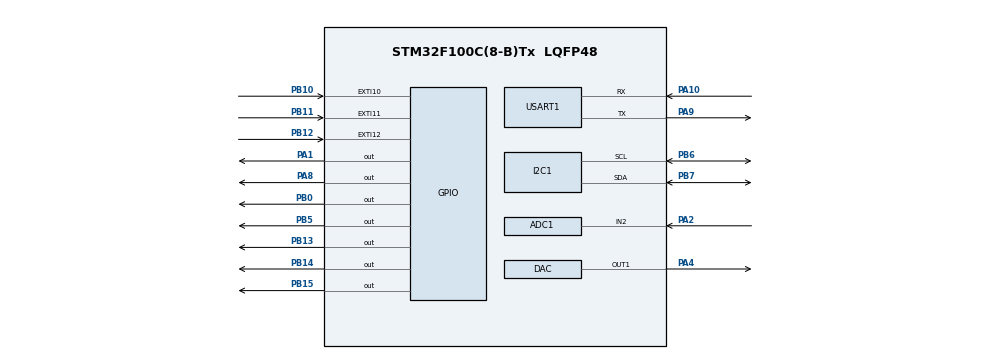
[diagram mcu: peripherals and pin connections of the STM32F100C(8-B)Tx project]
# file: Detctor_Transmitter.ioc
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ADC1.Channel-0\#ChannelRegularConversion=ADC_CHANNEL_2
ADC1.NbrOfConversionFlag=1
ADC1.Rank-0\#ChannelRegularConversion=1
ADC1.SamplingTime-0\#ChannelRegularConversion=ADC_SAMPLETIME_1CYCLE_5
ADC1.master=1
Mcu.Family=STM32F1
Mcu.Name=STM32F100C(8-B)Tx
Mcu.Package=LQFP48
NVIC.EXTI15_10_IRQn=true\:0\:0\:false\:false\:true\:true\:true\:true
NVIC.PriorityGroup=NVIC_PRIORITYGROUP_4
NVIC.TIM3_IRQn=true\:0\:0\:false\:false\:true\:true\:true\:true
PA1.Signal=GPIO_Output
PA10.Mode=Asynchronous
PA10.Signal=USART1_RX
PA13.Mode=Serial_Wire
PA13.Signal=SYS_JTMS-SWDIO
PA14.Mode=Serial_Wire
PA14.Signal=SYS_JTCK-SWCLK
PA2.Signal=ADCx_IN2
PA4.Signal=COMP_DAC1_group
PA8.Signal=GPIO_Output
PA9.Mode=Asynchronous
PA9.Signal=USART1_TX
PB0.Signal=GPIO_Output
PB10.Signal=GPXTI10
PB11.Signal=GPXTI11
PB12.Signal=GPXTI12
PB13.Signal=GPIO_Output
PB14.Signal=GPIO_Output
PB15.Signal=GPIO_Output
PB5.Signal=GPIO_Output
PB6.Mode=I2C
PB6.Signal=I2C1_SCL
PB7.Mode=I2C
PB7.Signal=I2C1_SDA
ProjectManager.HeapSize=0x200
ProjectManager.StackSize=0x400
ProjectManager.TargetToolchain=STM32CubeIDE
RCC.APB1Freq_Value=8000000
RCC.APB2Freq_Value=8000000
SH.ADCx_IN2.0=ADC1_IN2,IN2
SH.COMP_DAC1_group.0=DAC_OUT1,DAC_OUT1
TIM3.Period=250
TIM3.Prescaler=4800-1
USART1.VirtualMode=VM_ASYNC
VP_TIM3_VS_ClockSourceINT.Mode=Internal
board=custom

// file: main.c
/* USER CODE BEGIN Header */
/**
  ******************************************************************************
  * @file           : main.c
  * @brief          : Main program body
  ******************************************************************************
  * @attention
  *
  * Copyright (c) 2023 STMicroelectronics.
  * All rights reserved.
  *
  * This software is licensed under terms that can be found in the LICENSE file
  * in the root directory of this software component.
  * If no LICENSE file comes with this software, it is provided AS-IS.
  *
  ******************************************************************************
  */
/* USER CODE END Header */
#include "main.h"
#include "string.h"
#include "stdio.h"

ADC_HandleTypeDef hadc1;

DAC_HandleTypeDef hdac;

I2C_HandleTypeDef hi2c1;

TIM_HandleTypeDef htim3;

UART_HandleTypeDef huart1;

void SystemClock_Config(void);
static void MX_GPIO_Init(void);
static void MX_USART1_UART_Init(void);
static void MX_DAC_Init(void);
static void MX_ADC1_Init(void);
static void MX_I2C1_Init(void);
static void MX_TIM3_Init(void);
/* USER CODE BEGIN PFP */
/* USER CODE BEGIN PFP */
uint32_t previousMillis=0,previousMillis1 = 0,previousMillis2 = 0;
uint32_t currentMillis = 0,currentMillis1 = 0,currentMillis2 = 0;
char Sensor_Fail=0;

int i = 0,setcount =0, j = 0, Adresscounter=254,First_Adresscounter=0,Second_Adresscounter=0,Thrid_Adresscounter=0,current_digit,Segment_Position=3;
int First_AdcVal=0,Second_AdcVal=0,Thrid_AdcVal=0,Fourth_AdcVal=0;
int First_I2cVal=0,Second_I2cVal=0,Thrid_I2cVal=0,Fourth_I2cVal=0;
int Running_Application=0,Lockbit=0;
int h_Thrid_Alarmcounter=0,h_Second_Alarmcounter=0,h_First_Alarmcounter=0,High_Alarmcounter = 70,Set_LowAlarm=0;//Alarm Variables
int lw_Thrid_Alarmcounter=0,lw_Second_Alarmcounter=0,lw_First_Alarmcounter=0,Low_Alarmcounter=25;
int Version_Buff[23]={14,13,9,9,1,2,3,4,15,1,0,2,16,13,5,5,11,2,5,5};
int timer_control=0,With_TimerControl=0,Secondary_EntryApp=0;
uint8_t RxData[256];
uint8_t TxData[256];

typedef enum{
	PowerOnStage=0,
	MenuSelectionStage,
	SubMenuSelectionStage,
	Address_Setting,
	Zero_PointCalbiration,
	Gas_Calibration,
	mA_Calibration,
	h_Alarm_Setting,
	lw_Alarm_Setting,
	Life_limitSetting,
	Self_calibration,
	Exit_menu,
	Run_App,
}_stage;
_stage stage;
int Second_stage =1;
void Power_on_dispaly(){
   if(i<=8){
    Gas_IndexMenu();
   }
   else if((i>=8) && (i<=16)){
	Default_Address();

   }
   else if((i>=16) && (i<=24)){
    Version_Info();
   }
   else if((i>=24) && (i<=32)){
	Range_IndexMenu();}
   else if((i>=32) && (i<=40)){
	HighLow_AlarmMenu();}
	}
/* USER CODE END 0 */
int mapValue(int value) {
	const int minInput = 19680;   // 0 ppm at 1.23V VOUT
	const int maxInput = 27360;   // 100 ppm at 1.71V VOUT
    //const int minInput = 26214;//17650;//8186;
    //const int maxInput = 36160;//32767;//65535;
    const int minOutput = 0;
    const int maxOutput = 100;

    // Ensure the value is within the specified range
    if (value < minInput) {
        value = minInput;
    } else if (value > maxInput) {
        value = maxInput;
    }

    // Map the value to the output range
    int mappedValue = ((value - minInput) * (maxOutput - minOutput)) / (maxInput - minInput) + minOutput;

    return mappedValue;
}
int DAC_mapValue(int value) {
    const int minInput = 0;
    const int maxInput = 100;
    const int minOutput = 819;
    const int maxOutput = 3970;//3220;

    // Ensure the value is within the specified range
    if (value < minInput) {
        value = minInput;
    } else if (value > maxInput) {
        value = maxInput;
    }

    // Map the value to the output range
    int mappedValue = ((value - minInput) * (maxOutput - minOutput)) / (maxInput - minInput) + minOutput;
    return mappedValue;
}
/* USER CODE END PFP */
/* USER CODE END PFP */
void HAL_TIM_PeriodElapsedCallback(TIM_HandleTypeDef *htim)
{

  if(htim->Instance == TIM3)
  {
	  i++;
if(i>=41)
	i=0;

if(With_TimerControl==0)
       timer_control++;
if(timer_control>750){
   Secondary_EntryApp=1;
    timer_control=0;
}

  }
}
void HAL_GPIO_EXTI_Callback(uint16_t GPIO_Pin)
{

  currentMillis = HAL_GetTick();
  currentMillis1 = HAL_GetTick();
  currentMillis2 = HAL_GetTick();

  	  if (GPIO_Pin == GPIO_PIN_11 && (currentMillis - previousMillis > 10))
  	  {
  		if(Lockbit==0)
  		Second_stage++;

  		if(stage ==Address_Setting){
  			Adresscounter++;
  		}

  		 if(stage ==h_Alarm_Setting){
  			High_Alarmcounter++;
  		  		}
  		 if(stage ==lw_Alarm_Setting){
  	  		  			Low_Alarmcounter++;
  	  		  		  		  		}
  		if(Adresscounter>=255)
  		  			Adresscounter =255;

  		if(High_Alarmcounter>=100)
  			High_Alarmcounter =100;

  		if(Low_Alarmcounter>=100)
  			Low_Alarmcounter =100;

  		previousMillis = currentMillis;
  	  }
  	  else if (GPIO_Pin == GPIO_PIN_12 && (currentMillis1 - previousMillis1 > 10))
  		{

  		if(Lockbit==0){
  		  /*if((Second_stage >=1)){
  						  Second_stage -=1;
  						  }
  						  else {
  							  Second_stage=0;
  						  }*/
  			Second_stage -=1;
  			  		  			if((Second_stage <=0)){
  			  		  				Second_stage=1;
  			  		  			}

  		}

  		if(stage ==Address_Setting){

  			Adresscounter--;
  		  		}

  		 if(stage ==h_Alarm_Setting){
  			High_Alarmcounter--;
  		  		  		}
  		 if(stage ==lw_Alarm_Setting){
  		  			Low_Alarmcounter--;
  		  		  		  		}
  		if(Adresscounter <=0)
  			Adresscounter=0;

  		if(High_Alarmcounter <=0)
  			High_Alarmcounter=0;

  		if(Low_Alarmcounter <=0)
  		  	Low_Alarmcounter=0;

  		previousMillis1 = currentMillis1;

  		}
  	 else if (GPIO_Pin == GPIO_PIN_10 && (currentMillis2 - previousMillis2 > 10))
  	  		{
  		if((Running_Application ==1)||(Secondary_EntryApp==1)){
  		   			Running_Application=0;
  		   			Secondary_EntryApp=0;
  		   			With_TimerControl=0;
  		   		}
  		switch (setcount){
  		case 0:
  			stage =MenuSelectionStage;
  			Lockbit=0;
  		break;
  		case 1:

 	  		  if(Second_stage==1){
 	  			stage =Address_Setting;

 	  		  }
 	  		  else if(Second_stage==2){
 	  		 	  			stage =Zero_PointCalbiration;

 	  		 	  		  }
			else if(Second_stage==5){
			stage =h_Alarm_Setting;

			}
			else if(Second_stage==6){
			stage =lw_Alarm_Setting;

			}

			else if(Second_stage==9){
			stage =Exit_menu;
			Running_Application=1;

			}
  		    Lockbit=1;
  			break;

  		}
  		setcount++;

  		if(setcount>=2){
  			setcount =0;

  		}

  		   previousMillis2 = currentMillis2;
  	 }
}
/* USER CODE BEGIN 0 */
//uint16_t ReadMCP3425(uint8_t channel, uint8_t gain)
uint16_t ReadMCP3425(uint8_t channel, uint8_t gain_setting)  //10/9/25
{
 // uint8_t command = 0x90 | (channel << 5) | (gain << 1);
	 //uint8_t command = 0x98 ;
	uint8_t command = 0x98 | (gain_setting & 0x03);  // Add gain bits (0-3)//10/9/25
     uint8_t data[3] = {0};

  // Send configuration command to MCP3425
  if (HAL_I2C_Master_Transmit(&hi2c1, 0xD0, &command, 1, HAL_MAX_DELAY) != HAL_OK)
  {

    Sensor_Fail=1;
    return 0;
  }
    //HAL_Delay(2); // Delay for 1 second
  // Read ADC data from MCP3425
  if (HAL_I2C_Master_Receive(&hi2c1, 0xD1, data, 3, HAL_MAX_DELAY) != HAL_OK)
  {
    Sensor_Fail=1;
    return 0;
  }

  // Combine received bytes into a 16-bit value
  uint16_t result = (data[0] << 8) | data[1];

  // The last b yte contains configuration and status information; you can extract it if needed

  return result;
}
void Reading_Flash(){
	Adresscounter = Flash_Read_NUM(0x08006010);
	High_Alarmcounter= Flash_Read_NUM(0x08005C10);
	Low_Alarmcounter=Flash_Read_NUM(0x08012000);

}

void Write_Flash(){
	Flash_Write_NUM(0x08006010, Adresscounter);
	Flash_Write_NUM(0x08005C10, High_Alarmcounter);
	Flash_Write_NUM(0x08012000, Low_Alarmcounter);

}
/* USER CODE END 0 */

int main(void)
{
  /* USER CODE BEGIN 1 */
	uint16_t I2c_adcValue=0;
	int Ppm_Val =0;
	uint32_t dac_value=0;
    uint8_t Mode_data_to_send[] = {0x12,0x03}; // Data to be sent
    uint8_t TIACN_data_to_send[] = {0x10,0x1B};//{0x10,0x19}; // Data to be sent
    uint8_t REFCN_data_to_send[] = {0x11,0xA0}; // Data to be sent
    uint8_t LOCK_data_to_send[] = {0x01,0x00}; // Data to be sent
    uint16_t device_address = 0x90; // 7-bit address, left-shifted by 1 for write
    uint8_t Mode_data_received[3]={0}; // Buffer to store received data
    uint8_t TIACN_data_received[3]={0}; // Buffer to store received data
    uint8_t REFCN_data_received[3]={0}; // Buffer to store received data
    uint16_t mode_data_size = sizeof(Mode_data_received);
    uint16_t TIACN_data_size = sizeof(TIACN_data_received);
    uint16_t REFCN_data_size = sizeof(REFCN_data_received);
    static char Memory_lock=0;
  /* USER CODE END 1 */

  /* MCU Configuration--------------------------------------------------------*/

  /* Reset of all peripherals, Initializes the Flash interface and the Systick. */
  HAL_Init();

  /* Configure the system clock */
  SystemClock_Config();

  /* USER CODE BEGIN SysInit */
  Seven_SegmentInit();
  /* USER CODE END SysInit */

  /* Initialize all configured peripherals */
  MX_GPIO_Init();
  MX_USART1_UART_Init();
  MX_DAC_Init();
  MX_ADC1_Init();
  MX_I2C1_Init();
  MX_TIM3_Init();
  /* USER CODE BEGIN 2 */

  HAL_TIM_Base_Start_IT(&htim3);
  /* USER CODE END 2 */
  // Start DAC output
  HAL_DAC_Start(&hdac, DAC_CHANNEL_1);
  /* USER CODE END SysInit */
     HAL_GPIO_WritePin(GPIOA, GPIO_PIN_8, GPIO_PIN_SET);//Controlling the Txand Rx for Communication

     uint8_t txData[] = "Hello, Decteor/transmiter Starting the application !\r\n";
     HAL_UART_Transmit(&huart1, txData, sizeof(txData) - 1, HAL_MAX_DELAY);

     //i2c
     if (HAL_I2C_Master_Transmit(&hi2c1, device_address, Mode_data_to_send, sizeof(Mode_data_to_send), HAL_MAX_DELAY) != HAL_OK)
     {
    	 Sensor_Fail=1;
       Error_Handler();

     }

     if (HAL_I2C_Master_Receive(&hi2c1, device_address, Mode_data_received, mode_data_size, HAL_MAX_DELAY) != HAL_OK)
      {
    	 Sensor_Fail=1;
        Error_Handler();

      }

     /////

     // Transmit data
          if (HAL_I2C_Master_Transmit(&hi2c1, device_address,LOCK_data_to_send , sizeof(LOCK_data_to_send), HAL_MAX_DELAY) != HAL_OK)
          {
        	  Sensor_Fail=1;
            Error_Handler();

          }

          ///////
     // Transmit data
     if (HAL_I2C_Master_Transmit(&hi2c1, device_address, TIACN_data_to_send, sizeof(TIACN_data_to_send), HAL_MAX_DELAY) != HAL_OK)
     {
    	 Sensor_Fail=1;
       Error_Handler();

     }

     if (HAL_I2C_Master_Receive(&hi2c1, device_address, TIACN_data_received, TIACN_data_size, HAL_MAX_DELAY) != HAL_OK)
      {
    	 Sensor_Fail=1;
        Error_Handler();

      }
     ///

     if (HAL_I2C_Master_Transmit(&hi2c1, device_address,REFCN_data_to_send , sizeof(REFCN_data_to_send), HAL_MAX_DELAY) != HAL_OK)
     {
    	 Sensor_Fail=1;
       Error_Handler();

     }

     if (HAL_I2C_Master_Receive(&hi2c1, device_address, REFCN_data_received, REFCN_data_size, HAL_MAX_DELAY) != HAL_OK)
      {
    	 Sensor_Fail=1;
        Error_Handler();

      }
    __HAL_I2C_DISABLE(&hi2c1);

    Reading_Flash();
  /* Infinite loop */
  /* USER CODE BEGIN WHILE */
  //  HAL_DAC_SetValue(&hdac, DAC_CHANNEL_1, DAC_ALIGN_12B_R, 3220);
  while (1)
  {
#if 1
    /* USER CODE END WHILE */
	  HAL_GPIO_WritePin(GPIOA, GPIO_PIN_1, GPIO_PIN_RESET);

	  if(Second_stage>=10)

	   		   		  Second_stage=1;
	  /*serial display code added on 11/9/25//
	  static uint32_t uart_test = 0;
	      if(HAL_GetTick() - uart_test > 2000) { // Every 2 seconds
	          char test[] = "MAIN_LOOP_WORKING\r\n";

	          // RS485 direction control (like startup message)
	          HAL_GPIO_WritePin(GPIOA, GPIO_PIN_8, GPIO_PIN_SET); // TX mode
	          HAL_Delay(2);
	          HAL_UART_Transmit(&huart1, (uint8_t*)test, strlen(test), 100);
	          HAL_Delay(2);

	          uart_test = HAL_GetTick();
	      }
	      // 📊 SENSOR SERIAL OUTPUT - Add this new section
	          static uint32_t sensor_timer = 0;
	          if(HAL_GetTick() - sensor_timer > 3000) {  // Every 3 seconds
	              // Read sensor regardless of mode
	              uint16_t I2c_adcValue = ReadMCP3425(0, 0);
	              int Ppm_Val = mapValue(I2c_adcValue);
	              uint32_t dac_value = DAC_mapValue(Ppm_Val);

	              char sensor_msg[60];
	              sprintf(sensor_msg, "ADC:%d PPM:%d DAC:%lu Stage:%d\r\n",
	                      I2c_adcValue, Ppm_Val, dac_value, (int)stage);

	              HAL_GPIO_WritePin(GPIOA, GPIO_PIN_8, GPIO_PIN_SET);
	              HAL_Delay(2);
	              HAL_UART_Transmit(&huart1, (uint8_t*)sensor_msg, strlen(sensor_msg), 100);
	              HAL_Delay(2);

	              sensor_timer = HAL_GetTick();
	          }*/

	  if((Running_Application ==1 )||(Secondary_EntryApp==1))
	  	  			 {
	  		  stage=Run_App;
			   // Read analog value from MCP3425 channel 0 with 16x gain
			 	    //I2c_adcValue = ReadMCP3425(0, 2); // Change the channel and gain as needed
			 	   I2c_adcValue = ReadMCP3425(0, 0); // Change the channel and gain as needed 10/9/25
			 	   if(Memory_lock==0){
			 	   			   Write_Flash();
			 	   			   Memory_lock=1;
			 	   		   }

					Ppm_Val=mapValue(I2c_adcValue);
					//Ppm_Val =25;
					Thrid_I2cVal =( (Ppm_Val / 100) % 10 );   // prepare to display digit 2
					Second_I2cVal =( (Ppm_Val / 10) % 10 );   // prepare to display digit 3
					First_I2cVal =(Ppm_Val % 10);   // prepare to display digit 4 (most right)

					dac_value=DAC_mapValue(Ppm_Val);
					char buffer[200];

					//sprintf(buffer, "i2c Value: %d ppm Value: %d\r\n", I2c_adcValue,Ppm_Val);
					//HAL_UART_Transmit(&huart1, (uint8_t*)buffer, strlen(buffer), HAL_MAX_DELAY);
					//HAL_Delay(2000);*/

				    HAL_DAC_SetValue(&hdac, DAC_CHANNEL_1, DAC_ALIGN_12B_R, dac_value);
					displayNumber(First_I2cVal, 3,0 );
					HAL_Delay(2);
					displayNumber(Second_I2cVal, 2,0 );
					HAL_Delay(2);
					displayNumber(Thrid_I2cVal, 1,0 );
					HAL_Delay(2);

					 if ((Ppm_Val>= High_Alarmcounter)){
										displayNumber(0, 6,0 );//led2 alarm
										HAL_Delay(2);
								    HAL_GPIO_WritePin(GPIOB, GPIO_PIN_5, GPIO_PIN_SET);
									HAL_GPIO_WritePin(GPIOB , GPIO_PIN_0, GPIO_PIN_SET);
									}
					 else{
					 HAL_GPIO_WritePin(GPIOB, GPIO_PIN_5, GPIO_PIN_RESET);
					 HAL_GPIO_WritePin(GPIOB, GPIO_PIN_0, GPIO_PIN_RESET);
					 }

					 if((Sensor_Fail==1)||(I2c_adcValue<=16000)||(I2c_adcValue >= 32000)){

					displayNumber(0, 5,0 );//led1 fail
					HAL_Delay(2);
					HAL_DAC_SetValue(&hdac, DAC_CHANNEL_1, DAC_ALIGN_12B_R, 0);
					 }
					 else{
						 displayNumber(0, 7,0 );//led3 Noarmal
						 HAL_Delay(2);
					 }

		   }
	  switch (stage)
	  	   	  {
	  	   		  case PowerOnStage:
	  	   			  Power_on_dispaly();
	  	   			  break;
	  	   		  case MenuSelectionStage:
	  	   			  switch(Second_stage)
	  	   			  {
	  	   			With_TimerControl =1;
	  	   				  case 1:
	  	   					  Address_Menu();
	  	   				  break;
	  	   				  case 2:
	  	   					  zero_calibartionMenu();
	  	   				  break;
	  	   				  case 3:
	  	   					  gas_calibartionMenu();
	  	   				  break;
	  	   				  case 4:
	  	   					  Dac_calibartionMenu();
	  	   				  break;
	  	   				  case 5:
	  	   					  h_AlarmLimitMenu();
	  	   				  break;
	 					case 6:
	 					      AlarmLimitMenu();
	 					break;
	  	   				  case 7:
	  	   					  LifeLimitMenu();
	  	   				  break;
	  	   				  case 8:
	  	   					  Self_calibartionMenu();
	  	   				  break;
	  	   				  case 9:
	  	   					  Exit_Menu();
	  	   				  break;
	  	   				  default:
	  	   				   break;
	  	   			  }
	  	   	  		  break;
	  	   			 case SubMenuSelectionStage:

	  	   				break;
	  	   			 case Address_Setting:
	  	  					Thrid_Adresscounter =( (Adresscounter / 100) % 10 );   // prepare to display digit 2
	  	  					Second_Adresscounter =( (Adresscounter / 10) % 10 );   // prepare to display digit 3
	  	  					First_Adresscounter =(Adresscounter % 10);   // prepare to display digit 4 (most right)
	  	  					displayNumber(First_Adresscounter, 3,0 );
	  	  					HAL_Delay(2);
	  	  					displayNumber(Second_Adresscounter, 2,0 );
	  	  					HAL_Delay(2);
	  	  					displayNumber(Thrid_Adresscounter, 1,0 );
	  	  					HAL_Delay(2);
	  	  				With_TimerControl =1;

	  	   				break;

	  	   			case Zero_PointCalbiration:
	  	   				HAL_ADC_Start(&hadc1);
	  	   					  	  /* Poll for ADC conversion completion */
	  	   					  	      if (HAL_ADC_PollForConversion(&hadc1,HAL_MAX_DELAY) == HAL_OK)
	  	   					  	      {
	  	   					  	        /* Read ADC value */
	  	  								uint16_t adcValue = HAL_ADC_GetValue(&hadc1);
	  	   					  	    	//uint16_t adcValue = 2096;
	  	  								Fourth_AdcVal=(adcValue / 1000);   // prepare to display digit 1 (most left)
	  	  								Thrid_AdcVal =( (adcValue / 100) % 10 );   // prepare to display digit 2
	  	  								Second_AdcVal =( (adcValue / 10) % 10 );   // prepare to display digit 3
	  	  								First_AdcVal =(adcValue % 10);   // prepare to display digit 4 (most right)

	  	  								displayNumber(First_AdcVal, 3,0 );
	  	  								HAL_Delay(2);
	  	  								displayNumber(Second_AdcVal, 2,0 );
	  	  								HAL_Delay(2);
	  	  								displayNumber(Thrid_AdcVal, 1,0 );
	  	  								HAL_Delay(2);
	  	  								displayNumber(Fourth_AdcVal, 0,0 );
	  	  								HAL_Delay(2);
	  	  								char buffer[20];
	  	  								//sprintf(buffer, "ADC Value: %d\r\n", adcValue);
	  	  								//HAL_UART_Transmit(&huart1, (uint8_t*)buffer, strlen(buffer), HAL_MAX_DELAY);
	  	   					  	        /* Process the ADC value as needed */
	  	   					  	      }
	  	   					  	      HAL_ADC_Stop(&hadc1);
	  	   					  	With_TimerControl =1;

	  	   				break;
	  	   			case Gas_Calibration:
	  	   				break;
	  	   			case mA_Calibration:
	  	   				break;
	  	   			case h_Alarm_Setting:
	 					h_Thrid_Alarmcounter =( (High_Alarmcounter / 100) % 10 );   // prepare to display digit 2
	 					h_Second_Alarmcounter =( (High_Alarmcounter / 10) % 10 );   // prepare to display digit 3
	 					h_First_Alarmcounter =(High_Alarmcounter % 10);   // prepare to display digit 4 (most right)
	 					displayNumber(h_First_Alarmcounter, 3,0 );
	 					HAL_Delay(2);
	 					displayNumber(h_Second_Alarmcounter, 2,0 );
	 					HAL_Delay(2);
	 					displayNumber(h_Thrid_Alarmcounter, 1,0 );
	 					HAL_Delay(2);
	 					With_TimerControl =1;

	  	   				break;
	  	   			case lw_Alarm_Setting:
	  	   				lw_Thrid_Alarmcounter =( (Low_Alarmcounter / 100) % 10 );   // prepare to display digit 2
	  	   				lw_Second_Alarmcounter =( (Low_Alarmcounter / 10) % 10 );   // prepare to display digit 3
	  	   				lw_First_Alarmcounter =(Low_Alarmcounter % 10);   // prepare to display digit 4 (most right)
	 					displayNumber(lw_First_Alarmcounter, 3,0 );
	 					HAL_Delay(2);
	 					displayNumber(lw_Second_Alarmcounter, 2,0 );
	 					HAL_Delay(2);
	 					displayNumber(lw_Thrid_Alarmcounter, 1,0 );
	 					HAL_Delay(2);
	 					With_TimerControl =1;
	  	   				break;
	  	   			case Life_limitSetting:
	  	   				break;
	  	   			case Self_calibration:
	  	   				break;
	  	   			case Exit_menu:

	  	   				break;
	  	   		case Run_App:

	  	   			  break;
	  	   		  default:
	  	   			  break;
	  	   	  }
    /* USER CODE BEGIN 3 */
#endif
  }
  /* USER CODE END 3 */
}

void SystemClock_Config(void)
{
  RCC_OscInitTypeDef RCC_OscInitStruct = {0};
  RCC_ClkInitTypeDef RCC_ClkInitStruct = {0};
  RCC_PeriphCLKInitTypeDef PeriphClkInit = {0};

  /** Initializes the RCC Oscillators according to the specified parameters
  * in the RCC_OscInitTypeDef structure.
  */
  RCC_OscInitStruct.OscillatorType = RCC_OSCILLATORTYPE_HSI;
  RCC_OscInitStruct.HSIState = RCC_HSI_ON;
  RCC_OscInitStruct.HSICalibrationValue = RCC_HSICALIBRATION_DEFAULT;
  RCC_OscInitStruct.PLL.PLLState = RCC_PLL_NONE;
  if (HAL_RCC_OscConfig(&RCC_OscInitStruct) != HAL_OK)
  {
    Error_Handler();
  }

  /** Initializes the CPU, AHB and APB buses clocks
  */
  RCC_ClkInitStruct.ClockType = RCC_CLOCKTYPE_HCLK|RCC_CLOCKTYPE_SYSCLK
                              |RCC_CLOCKTYPE_PCLK1|RCC_CLOCKTYPE_PCLK2;
  RCC_ClkInitStruct.SYSCLKSource = RCC_SYSCLKSOURCE_HSI;
  RCC_ClkInitStruct.AHBCLKDivider = RCC_SYSCLK_DIV1;
  RCC_ClkInitStruct.APB1CLKDivider = RCC_HCLK_DIV1;
  RCC_ClkInitStruct.APB2CLKDivider = RCC_HCLK_DIV1;

  if (HAL_RCC_ClockConfig(&RCC_ClkInitStruct, FLASH_LATENCY_0) != HAL_OK)
  {
    Error_Handler();
  }
  PeriphClkInit.PeriphClockSelection = RCC_PERIPHCLK_ADC;
  PeriphClkInit.AdcClockSelection = RCC_ADCPCLK2_DIV2;
  if (HAL_RCCEx_PeriphCLKConfig(&PeriphClkInit) != HAL_OK)
  {
    Error_Handler();
  }
}

static void MX_ADC1_Init(void)
{

  ADC_ChannelConfTypeDef sConfig = {0};

  /** Common config
  */
  hadc1.Instance = ADC1;
  hadc1.Init.ScanConvMode = ADC_SCAN_DISABLE;
  hadc1.Init.ContinuousConvMode = DISABLE;
  hadc1.Init.DiscontinuousConvMode = DISABLE;
  hadc1.Init.ExternalTrigConv = ADC_SOFTWARE_START;
  hadc1.Init.DataAlign = ADC_DATAALIGN_RIGHT;
  hadc1.Init.NbrOfConversion = 1;
  if (HAL_ADC_Init(&hadc1) != HAL_OK)
  {
    Error_Handler();
  }

  /** Configure Regular Channel
  */
  sConfig.Channel = ADC_CHANNEL_2;
  sConfig.Rank = ADC_REGULAR_RANK_1;
  sConfig.SamplingTime = ADC_SAMPLETIME_1CYCLE_5;
  if (HAL_ADC_ConfigChannel(&hadc1, &sConfig) != HAL_OK)
  {
    Error_Handler();
  }

}

static void MX_DAC_Init(void)
{

  DAC_ChannelConfTypeDef sConfig = {0};

  /** DAC Initialization
  */
  hdac.Instance = DAC;
  if (HAL_DAC_Init(&hdac) != HAL_OK)
  {
    Error_Handler();
  }

  /** DAC channel OUT1 config
  */
  sConfig.DAC_Trigger = DAC_TRIGGER_NONE;
  sConfig.DAC_OutputBuffer = DAC_OUTPUTBUFFER_ENABLE;
  if (HAL_DAC_ConfigChannel(&hdac, &sConfig, DAC_CHANNEL_1) != HAL_OK)
  {
    Error_Handler();
  }

}

static void MX_I2C1_Init(void)
{

  hi2c1.Instance = I2C1;
  hi2c1.Init.ClockSpeed = 100000;
  hi2c1.Init.DutyCycle = I2C_DUTYCYCLE_2;
  hi2c1.Init.OwnAddress1 = 0;
  hi2c1.Init.AddressingMode = I2C_ADDRESSINGMODE_7BIT;
  hi2c1.Init.DualAddressMode = I2C_DUALADDRESS_DISABLE;
  hi2c1.Init.OwnAddress2 = 0;
  hi2c1.Init.GeneralCallMode = I2C_GENERALCALL_DISABLE;
  hi2c1.Init.NoStretchMode = I2C_NOSTRETCH_DISABLE;
  if (HAL_I2C_Init(&hi2c1) != HAL_OK)
  {
    Error_Handler();
  }

}

static void MX_TIM3_Init(void)
{

  TIM_ClockConfigTypeDef sClockSourceConfig = {0};
  TIM_MasterConfigTypeDef sMasterConfig = {0};

  htim3.Instance = TIM3;
  htim3.Init.Prescaler = 4800-1;
  htim3.Init.CounterMode = TIM_COUNTERMODE_UP;
  htim3.Init.Period = 250;
  htim3.Init.ClockDivision = TIM_CLOCKDIVISION_DIV1;
  htim3.Init.AutoReloadPreload = TIM_AUTORELOAD_PRELOAD_DISABLE;
  if (HAL_TIM_Base_Init(&htim3) != HAL_OK)
  {
    Error_Handler();
  }
  sClockSourceConfig.ClockSource = TIM_CLOCKSOURCE_INTERNAL;
  if (HAL_TIM_ConfigClockSource(&htim3, &sClockSourceConfig) != HAL_OK)
  {
    Error_Handler();
  }
  sMasterConfig.MasterOutputTrigger = TIM_TRGO_RESET;
  sMasterConfig.MasterSlaveMode = TIM_MASTERSLAVEMODE_DISABLE;
  if (HAL_TIMEx_MasterConfigSynchronization(&htim3, &sMasterConfig) != HAL_OK)
  {
    Error_Handler();
  }

}

static void MX_USART1_UART_Init(void)
{

  huart1.Instance = USART1;
  huart1.Init.BaudRate = 115200;
  huart1.Init.WordLength = UART_WORDLENGTH_8B;
  huart1.Init.StopBits = UART_STOPBITS_1;
  huart1.Init.Parity = UART_PARITY_NONE;
  huart1.Init.Mode = UART_MODE_TX_RX;
  huart1.Init.HwFlowCtl = UART_HWCONTROL_NONE;
  huart1.Init.OverSampling = UART_OVERSAMPLING_16;
  if (HAL_UART_Init(&huart1) != HAL_OK)
  {
    Error_Handler();
  }

}

static void MX_GPIO_Init(void)
{
  GPIO_InitTypeDef GPIO_InitStruct = {0};

  /* GPIO Ports Clock Enable */
  __HAL_RCC_GPIOA_CLK_ENABLE();
  __HAL_RCC_GPIOB_CLK_ENABLE();

  /*Configure GPIO pin Output Level */
  HAL_GPIO_WritePin(GPIOA, GPIO_PIN_1|GPIO_PIN_8, GPIO_PIN_RESET);

  /*Configure GPIO pin Output Level */
  HAL_GPIO_WritePin(GPIOB, GPIO_PIN_0|GPIO_PIN_13|GPIO_PIN_14|GPIO_PIN_15
                          |GPIO_PIN_5, GPIO_PIN_RESET);

  /*Configure GPIO pins : PA1 PA8 */
  GPIO_InitStruct.Pin = GPIO_PIN_1|GPIO_PIN_8;
  GPIO_InitStruct.Mode = GPIO_MODE_OUTPUT_PP;
  GPIO_InitStruct.Pull = GPIO_NOPULL;
  GPIO_InitStruct.Speed = GPIO_SPEED_FREQ_LOW;
  HAL_GPIO_Init(GPIOA, &GPIO_InitStruct);

  /*Configure GPIO pins : PB0 PB13 PB14 PB15
                           PB5 */
  GPIO_InitStruct.Pin = GPIO_PIN_0|GPIO_PIN_13|GPIO_PIN_14|GPIO_PIN_15
                          |GPIO_PIN_5;
  GPIO_InitStruct.Mode = GPIO_MODE_OUTPUT_PP;
  GPIO_InitStruct.Pull = GPIO_NOPULL;
  GPIO_InitStruct.Speed = GPIO_SPEED_FREQ_LOW;
  HAL_GPIO_Init(GPIOB, &GPIO_InitStruct);

  /*Configure GPIO pins : PB10 PB11 PB12 */
  GPIO_InitStruct.Pin = GPIO_PIN_10|GPIO_PIN_11|GPIO_PIN_12;
  GPIO_InitStruct.Mode = GPIO_MODE_IT_RISING;
  GPIO_InitStruct.Pull = GPIO_NOPULL;
  HAL_GPIO_Init(GPIOB, &GPIO_InitStruct);

  /* EXTI interrupt init*/
  HAL_NVIC_SetPriority(EXTI15_10_IRQn, 0, 0);
  HAL_NVIC_EnableIRQ(EXTI15_10_IRQn);

}

void Error_Handler(void)
{
  /* USER CODE BEGIN Error_Handler_Debug */
  /* User can add his own implementation to report the HAL error return state */
 // __disable_irq();
  /*while (1)
  {
	  if(Sensor_Fail==1){
		  displayNumber(0, 5,0 );
		  HAL_Delay(2);
	  }
  }*/
  /* USER CODE END Error_Handler_Debug */
}
